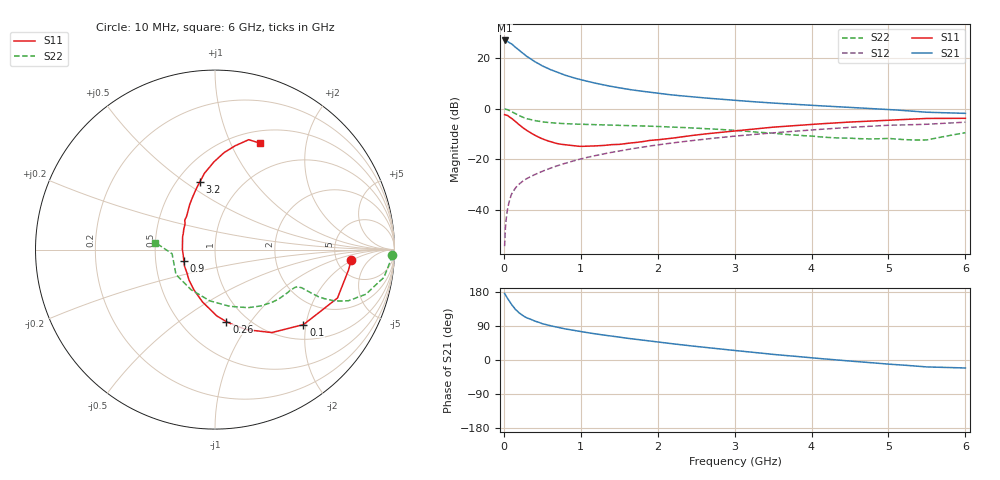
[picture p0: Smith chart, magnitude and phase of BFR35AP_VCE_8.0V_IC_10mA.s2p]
! Infineon Technologies  Discrete & RF Semiconductors
! BFR35AP
! VCE =  8.0 V,  IC =  10 mA
! Common Emitter S-Parameters:  Nov 2015
# GHz  S  MA  R  50
!  f  S11  S21  S12  S22
! GHz  MAG  ANG  MAG  ANG  MAG  ANG  MAG  ANG
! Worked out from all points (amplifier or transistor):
!   210 points, 10 MHz to 6 GHz, reference 50 ohm
!   highest |S21| = 27.0 dB at 10 MHz (marker M1)
!   |S21| within 3 dB of that: start of sweep to 164 MHz
!   unconditionally stable (mu >= 1): 626.2 MHz to 2.851 GHz
!   at 185 MHz: K = 0.53, MSG = 26.9 dB, |S12| = -30.3 dB
!   at 1.52 GHz: K = 1.09, MAG = 10.5 dB, |S12| = -16.6 dB
!   at 6 GHz: K = 0.89, MSG = 1.7 dB, |S12| = -5.3 dB
!   S11 on the Smith chart (normalised r, x): 10 MHz: 6.85, -1.86; 100 MHz: 1.35, -1.94; 260 MHz: 0.80, -0.77; 900 MHz: 0.70, -0.09; 3.2 GHz: 0.64, +0.58; 6 GHz: 0.64, +1.29
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0.01  0.7608 -4.3  22.35 175.8  0.0019 88.3  0.9876 -1.8
0.02  0.7528 -8.6  21.92 171.9  0.0042 84.3  0.9791 -3.8
0.05  0.7338 -21.6  21.27 161.8  0.0107 80.4  0.9541 -9.3
0.1  0.6462 -40.3  19.17 146.3  0.0203 71.3  0.8768 -16.5
0.15  0.5602 -55.6  16.48 133.4  0.0269 66.9  0.7955 -21.0
0.2  0.48 -68.4  14.26 124.1  0.0322 64.5  0.728 -23.2
0.24  0.4281 -76.9  12.71 118.3  0.0361 63.3  0.6829 -23.9
0.26  0.4066 -81.0  12.02 115.6  0.038 63.0  0.6637 -24.2
0.3  0.3695 -88.5  10.78 111.0  0.0414 63.1  0.6318 -24.5
0.4  0.2996 -103.5  8.558 102.9  0.0494 63.0  0.5808 -24.2
0.5  0.253 -117.7  7.018 95.9  0.0575 64.2  0.5474 -23.9
0.6  0.2236 -130.3  5.977 90.6  0.0659 65.1  0.5278 -23.8
0.7  0.2026 -140.8  5.201 86.1  0.0745 65.7  0.514 -24.0
0.9  0.1844 -160.1  4.102 78.3  0.0922 65.7  0.4963 -24.9
1.02  0.1794 -172.8  3.674 74.3  0.1028 65.8  0.4898 -25.8
1.4  0.194 158.5  2.744 63.0  0.1364 64.5  0.472 -30.1
2.02  0.2438 130.5  1.999 47.1  0.1936 59.7  0.4427 -39.5
3.1  0.3746 104.2  1.423 23.2  0.2947 49.0  0.3617 -62.9
3.2  0.388 102.4  1.387 21.2  0.3038 47.9  0.3515 -65.8
4.1  0.499 89.4  1.142 4.0  0.3881 37.5  0.2776 -100.3
5.1  0.599 77.7  0.941 -12.2  0.4727 23.7  0.25 -152.5
6  0.644 67.3  0.807 -21.1  0.5403 13.3  0.3344 173.3
